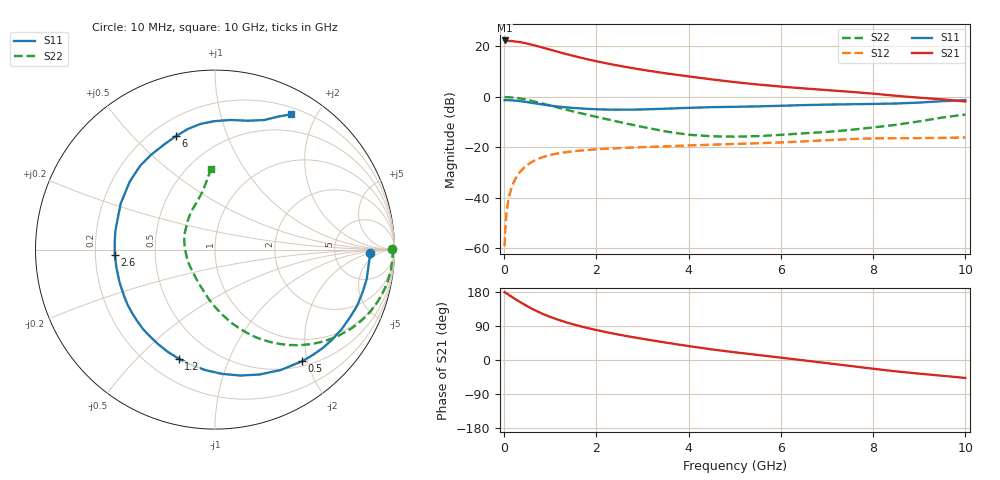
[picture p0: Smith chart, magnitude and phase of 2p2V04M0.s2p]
! (c) 2009  Infineon Technologies AG, Munich
! Infineon Technologies  Discrete & RF Semiconductors
! BFP420
! VCE =  2.0 V,  IC =  4.0 mA
! Common Emitter S-Parameters:  Nov 2009
# GHz  S  MA  R  50
!  f  S11  S21  S12  S22
! GHz  MAG  ANG  MAG  ANG  MAG  ANG  MAG  ANG
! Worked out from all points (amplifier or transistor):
!   46 points, 10 MHz to 10 GHz, reference 50 ohm
!   highest |S21| = 22.4 dB at 10 MHz (marker M1)
!   |S21| within 3 dB of that: start of sweep to 869.2 MHz
!   unconditionally stable (mu >= 1): 3.227 GHz to end of sweep
!   at 300 MHz: K = 0.08, MSG = 26.3 dB, |S12| = -30.8 dB
!   at 1.7 GHz: K = 0.52, MSG = 18.3 dB, |S12| = -21.2 dB
!   at 10 GHz: K = 1.14, MAG = 4.8 dB, |S12| = -16.1 dB
!   lowest NFmin = 0.61 dB at 900 MHz
!   S11 on the Smith chart (normalised r, x): 10 MHz: 13, -2; 500 MHz: 0.58, -1.91; 1.2 GHz: 0.32, -0.67; 2.6 GHz: 0.28, -0.02; 6 GHz: 0.29, +0.67; 10 GHz: 0.28, +1.67
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0.01  0.8617 -1.1  13.17 179.3  0.0011 106.3  0.9871 0.1
0.02  0.8643 -2.2  12.83 178.6  0.002 85.9  0.9906 -1.2
0.05  0.8605 -5.1  12.86 175.9  0.0051 86.9  0.9899 -3.1
0.1  0.861 -10.9  12.9 172.0  0.01 84.0  0.9865 -6.4
0.25  0.8414 -26.7  12.51 160.0  0.0242 75.9  0.9601 -15.8
0.4  0.8141 -42.1  11.92 149.0  0.0371 67.8  0.9138 -24.7
0.5  0.7894 -52.0  11.4 142.0  0.0447 63.0  0.8765 -30.2
0.6  0.7642 -61.4  10.86 135.4  0.0514 58.5  0.8362 -35.3
0.8  0.7157 -78.7  9.702 123.7  0.0623 50.7  0.7534 -44.3
1  0.6737 -94.5  8.64 113.7  0.0705 44.3  0.6748 -52.0
1.2  0.6406 -108.5  7.686 105.0  0.0768 39.2  0.6042 -58.7
1.4  0.6146 -121.1  6.873 97.4  0.0816 35.0  0.5431 -64.6
1.7  0.5881 -137.7  5.887 87.6  0.0872 30.0  0.4656 -72.2
2.2  0.5623 -160.9  4.673 73.9  0.0939 23.9  0.3664 -83.4
2.6  0.5594 -177.2  3.982 64.4  0.0977 20.1  0.3037 -92.5
3.5  0.5846 154.1  2.942 46.0  0.1049 13.9  0.2071 -116.4
4.5  0.6268 131.5  2.226 28.0  0.113 8.6  0.166 -151.0
5.5  0.6496 116.3  1.763 13.3  0.1208 4.2  0.1673 179.0
6  0.6681 109.2  1.604 6.2  0.1254 2.2  0.177 165.4
7  0.7045 96.7  1.364 -8.3  0.1386 -3.0  0.2022 143.1
8.5  0.741 75.7  1.053 -30.0  0.1518 -15.6  0.28 111.8
10  0.8627 60.8  0.811 -47.4  0.1572 -23.6  0.4483 92.8
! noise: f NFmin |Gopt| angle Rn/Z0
0.9  0.61  0.27  32  0.16
1.8  1.03  0.14  83  0.13
2.4  1.11  0.17  110  0.14
3  1.23  0.2  153  0.11
4  1.42  0.31  -151  0.11
5  1.77  0.38  -123  0.23
6  2.35  0.47  -104  0.33
